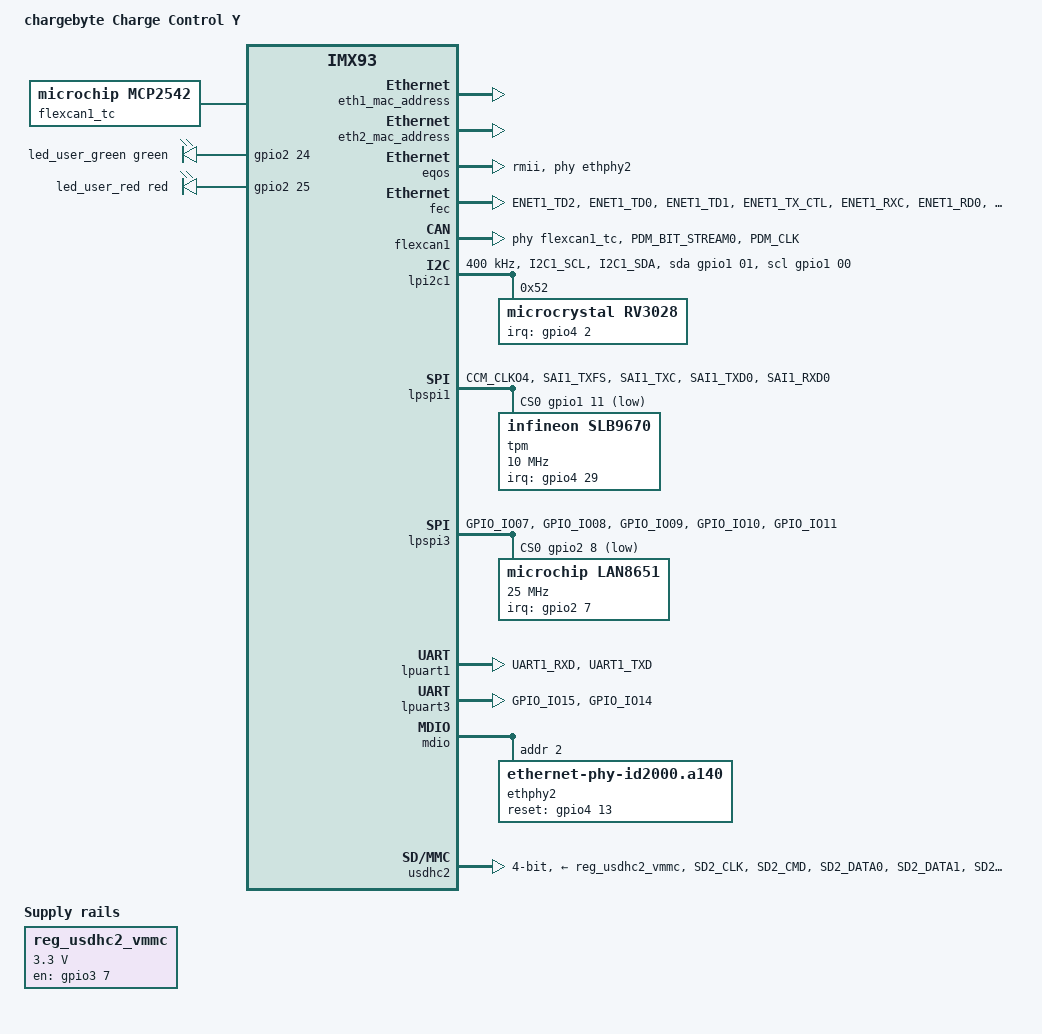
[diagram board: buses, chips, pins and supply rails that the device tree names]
// SPDX-License-Identifier: (GPL-2.0+ OR MIT)
/*
 * Copyright (C) 2025-2026 chargebyte GmbH
 */

/dts-v1/;

#include <dt-bindings/interrupt-controller/irq.h>
#include "imx93-phycore-som.dtsi"

/ {
	model = "chargebyte Charge Control Y";
	compatible = "chargebyte,imx93-charge-control-y", "phytec,imx93-phycore-som", "fsl,imx93";

	aliases {
		ethernet0 = &fec;
		ethernet1 = &lan8651;
		ethernet2 = &eqos;
		gpio0 = &gpio1;
		gpio1 = &gpio2;
		gpio2 = &gpio3;
		gpio3 = &gpio4;
		mmc0 = &usdhc1;
		mmc1 = &usdhc2;
		rtc0 = &rv3028;
		rtc1 = &bbnsm_rtc;
		serial0 = &lpuart1;
		serial1 = &lpuart2;
		serial2 = &lpuart3;
		serial3 = &lpuart4;
		serial4 = &lpuart5;
	};

	chosen {
		stdout-path = &lpuart1;
	};

	flexcan1_tc: can-phy0 {
		compatible = "microchip,mcp2542", "ti,tcan1042";
		#phy-cells = <0>;
		max-bitrate = <1000000>;
	};

	reg_usdhc2_vmmc: regulator-usdhc2 {
		compatible = "regulator-fixed";
		enable-active-high;
		gpio = <&gpio3 7 GPIO_ACTIVE_HIGH>;
		pinctrl-names = "default";
		pinctrl-0 = <&pinctrl_reg_usdhc2_vmmc>;
		regulator-min-microvolt = <3300000>;
		regulator-max-microvolt = <3300000>;
		regulator-name = "VCC_SD";
	};

	user_leds: user-leds {
		compatible = "gpio-leds";
		pinctrl-names = "default";
		pinctrl-0 = <&pinctrl_user_leds>;

		led_user_green: led-user-green {
			color = <LED_COLOR_ID_GREEN>;
			function = LED_FUNCTION_BOOT;
			gpios = <&gpio2 24 GPIO_ACTIVE_HIGH>;
			linux,default-trigger = "timer";
		};

		led_user_red: led-user-red {
			color = <LED_COLOR_ID_RED>;
			function = LED_FUNCTION_SD;
			gpios = <&gpio2 25 GPIO_ACTIVE_HIGH>;
			linux,default-trigger = "mmc1";
		};
	};
};

&eeprom0 {
	nvmem-layout {
		compatible = "fixed-layout";
		#address-cells = <1>;
		#size-cells = <1>;

		/* Wired ethernet interface */
		eth1_mac_address: base-mac-address@100 {
			compatible = "mac-base";
			reg = <0x100 0x6>;
			#nvmem-cell-cells = <1>;
		};

		/* MCS ethernet interface */
		eth2_mac_address: base-mac-address@108 {
			compatible = "mac-base";
			reg = <0x108 0x6>;
			#nvmem-cell-cells = <1>;
		};
	};
};

/* Ethernet 2 */
&eqos {
	phy-mode = "rmii";
	phy-handle = <&ethphy2>;
	assigned-clocks = <&clk IMX93_CLK_ENET_TIMER2>,
			  <&clk IMX93_CLK_ENET>;
	assigned-clock-parents = <&clk IMX93_CLK_SYS_PLL_PFD1_DIV2>,
				 <&clk IMX93_CLK_SYS_PLL_PFD1_DIV2>;
	assigned-clock-rates = <100000000>, <50000000>;

	nvmem-cells = <&eth1_mac_address 0>;
	nvmem-cell-names = "mac-address";

	status = "okay";
};

/* Ethernet 1 */
&fec {
	/* Since MDIO bus is handled by FEC, all PHY strap pins and
	 * reference clock must be initialized at the same time.
	 */
	pinctrl-0 = <&pinctrl_fec &pinctrl_eqos &pinctrl_eqos_strap>;
};

&flexcan1 {
	pinctrl-names = "default";
	pinctrl-0 = <&pinctrl_flexcan1>;
	phys = <&flexcan1_tc>;
	status = "okay";
};

&gpio1 {
	pinctrl-names = "default";
	pinctrl-0 = <&pinctrl_gpio1>, <&pinctrl_lan8651_rst>;
	gpio-line-names = "", "", "", "X_nRST_LAN", "",
			  "", "LPUART2_RX", "LPUART2_TX", "CAN1_TX", "CAN1_RX",
			  "", "SPI_TPM_nCS0", "", "", "",
			  "";
};

&gpio2 {
	gpio-line-names = "", "", "", "", "",
			  "", "", "X_LAN_nIRQ", "X_LAN_nCS", "",
			  "", "", "", "", "",
			  "", "", "", "", "",
			  "", "", "", "", "GREEN_LED",
			  "RED_LED", "", "", "", "";
};

&gpio3 {
	gpio-line-names = "SD2_nCD", "", "", "", "",
			  "", "", "SD2_nRESET", "", "",
			  "", "", "", "", "",
			  "", "", "", "", "",
			  "SOM_EMMC_nRESET", "", "", "", "",
			  "", "", "", "", "",
			  "", "";
};

&gpio4 {
	pinctrl-names = "default";
	pinctrl-0 = <&pinctrl_gpio4>;
	gpio-line-names = "", "", "X_RTC_nINT", "", "",
			  "", "", "", "", "",
			  "", "", "SAFETY_BOOTMODE_SET", "ENET1_RST", "",
			  "", "", "", "", "",
			  "", "SOM_EEPROM_WP", "", "SOM_PHY_RESET", "",
			  "", "", "PMIC_IRQ_B", "nSAFETY_RESET_INT", "SPI_TPM_nINT0";
};

&lpi2c1 {
	clock-frequency = <400000>;
	pinctrl-names = "default", "gpio";
	pinctrl-0 = <&pinctrl_lpi2c1>;
	pinctrl-1 = <&pinctrl_lpi2c1_gpio>;
	scl-gpios = <&gpio1 00 (GPIO_ACTIVE_HIGH | GPIO_OPEN_DRAIN)>;
	sda-gpios = <&gpio1 01 (GPIO_ACTIVE_HIGH | GPIO_OPEN_DRAIN)>;
	#address-cells = <1>;
	#size-cells = <0>;
	status = "okay";

	rv3028: rtc@52 {
		compatible = "microcrystal,rv3028";
		interrupts = <2 IRQ_TYPE_LEVEL_LOW>;
		interrupt-parent = <&gpio4>;
		wakeup-source;
		trickle-resistor-ohms = <3000>;
		pinctrl-names = "default";
		pinctrl-0 = <&pinctrl_rtc>;
		reg = <0x52>;
	};
};

&lpspi1 {
	pinctrl-names = "default";
	pinctrl-0 = <&pinctrl_lpspi1>;
	num-cs = <1>;
	cs-gpios = <&gpio1 11 GPIO_ACTIVE_LOW>;
	status = "okay";

	tpm@0 {
		compatible = "infineon,slb9670", "tcg,tpm_tis-spi";
		reg = <0>;
		spi-max-frequency = <10000000>;
		interrupt-parent = <&gpio4>;
		interrupts = <29 IRQ_TYPE_LEVEL_LOW>;
	};
};

/* MCS Ethernet SPI */
&lpspi3 {
	pinctrl-names = "default";
	pinctrl-0 = <&pinctrl_lpspi3>;
	num-cs = <1>;
	cs-gpios = <&gpio2 8 GPIO_ACTIVE_LOW>;
	status = "okay";

	lan8651: ethernet@0 {
		compatible = "microchip,lan8651", "microchip,lan8650";
		reg = <0>;
		interrupt-parent = <&gpio2>;
		interrupts = <7 IRQ_TYPE_LEVEL_LOW>;
		spi-max-frequency = <25000000>;

		nvmem-cells = <&eth2_mac_address 0>;
		nvmem-cell-names = "mac-address";

		/*
		 * Since GPIO reset management for the LAN8651 has not yet been
		 * implemented, X_nRST_LAN should be retained as a GPIO in
		 * userspace for the rare case that a reset via SPI does not work.
		 */
	};
};

&lpuart1 {
	pinctrl-names = "default";
	pinctrl-0 = <&pinctrl_uart1>;
	status = "okay";
};

&lpuart3 {
	pinctrl-names = "default";
	pinctrl-0 = <&pinctrl_uart3>;
	status = "okay";
};

/* Ethernet 2 PHY */
&mdio {
	ethphy2: ethernet-phy@2 {
		reg = <2>;
		compatible = "ethernet-phy-id2000.a140";
		clocks = <&clk IMX93_CLK_ENET_REF_PHY>;
		reset-gpios = <&gpio4 13 GPIO_ACTIVE_HIGH>;
		reset-assert-us = <30>;
		reset-deassert-us = <50000>;
	};
};

/* Heartbeat LED of phyCore is not populated */
&som_leds {
	status = "disabled";
};

/* SD */
&usdhc2 {
	pinctrl-names = "default", "state_100mhz", "state_200mhz";
	pinctrl-0 = <&pinctrl_usdhc2_default>, <&pinctrl_usdhc2_cd>;
	pinctrl-1 = <&pinctrl_usdhc2_100mhz>, <&pinctrl_usdhc2_cd>;
	pinctrl-2 = <&pinctrl_usdhc2_200mhz>, <&pinctrl_usdhc2_cd>;
	cd-gpios = <&gpio3 00 GPIO_ACTIVE_LOW>;
	vmmc-supply = <&reg_usdhc2_vmmc>;
	bus-width = <4>;
	disable-wp;
	no-sdio;
	no-mmc;
	status = "okay";
};

&iomuxc {
	pinctrl_eqos: eqosgrp {
		fsl,pins = <
			MX93_PAD_ENET1_TD2__CCM_ENET_QOS_CLOCK_GENERATE_REF_CLK		0x4000057e
			MX93_PAD_ENET1_TD0__ENET_QOS_RGMII_TD0				0x50e
			MX93_PAD_ENET1_TD1__ENET_QOS_RGMII_TD1				0x50e
			MX93_PAD_ENET1_TX_CTL__ENET_QOS_RGMII_TX_CTL			0x50e
		>;
	};

	pinctrl_eqos_strap: eqosstrapgrp {
		fsl,pins = <
			MX93_PAD_ENET1_RXC__ENET_QOS_RX_ER		0x17e
			MX93_PAD_ENET1_RD0__ENET_QOS_RGMII_RD0		0x17e
			MX93_PAD_ENET1_RD1__ENET_QOS_RGMII_RD1		0x17e
			MX93_PAD_ENET1_RX_CTL__ENET_QOS_RGMII_RX_CTL	0x17e
		>;
	};

	pinctrl_flexcan1: flexcan1grp {
		fsl,pins = <
			MX93_PAD_PDM_BIT_STREAM0__CAN1_RX	0x139e
			MX93_PAD_PDM_CLK__CAN1_TX		0x1382
		>;
	};

	pinctrl_gpio1: gpio1grp {
		fsl,pins = <
			MX93_PAD_PDM_BIT_STREAM1__GPIO1_IO10	0x382
		>;
	};

	pinctrl_gpio4: gpio4grp {
		fsl,pins = <
			MX93_PAD_ENET1_TXC__GPIO4_IO07		0x382
			MX93_PAD_ENET1_RD2__GPIO4_IO12		0x39e
			MX93_PAD_CCM_CLKO3__GPIO4_IO28		0x39e
			MX93_PAD_ENET1_RD3__GPIO4_IO13		0x31e
		>;
	};

	/* X_nRST_LAN is wired to a pull resistor, so it's not floating */
	pinctrl_lan8651_rst: lan8651rstgrp {
		fsl,pins = <
			MX93_PAD_I2C2_SDA__GPIO1_IO03		0x31e
		>;
	};

	pinctrl_lpi2c1: lpi2c1grp {
		fsl,pins = <
			MX93_PAD_I2C1_SCL__LPI2C1_SCL		0x40000b86
			MX93_PAD_I2C1_SDA__LPI2C1_SDA		0x40000b86
		>;
	};

	pinctrl_lpi2c1_gpio: lpi2c1gpiogrp {
		fsl,pins = <
			MX93_PAD_I2C1_SCL__GPIO1_IO00		0x40000b9e
			MX93_PAD_I2C1_SDA__GPIO1_IO01		0x40000b9e
		>;
	};

	pinctrl_lpspi1: lpspi1grp {
		fsl,pins = <
			MX93_PAD_CCM_CLKO4__GPIO4_IO29		0x186
			MX93_PAD_SAI1_TXFS__GPIO1_IO11		0x186
			MX93_PAD_SAI1_TXC__LPSPI1_SIN		0x186
			MX93_PAD_SAI1_TXD0__LPSPI1_SCK		0x186
			MX93_PAD_SAI1_RXD0__LPSPI1_SOUT		0x186
		>;
	};

	/* PinCtrl MCS LAN SPI */
	pinctrl_lpspi3: lpspi3grp {
		fsl,pins = <
			MX93_PAD_GPIO_IO07__GPIO2_IO07		0x186
			MX93_PAD_GPIO_IO08__GPIO2_IO08		0x186
			MX93_PAD_GPIO_IO09__LPSPI3_SIN		0x186
			MX93_PAD_GPIO_IO10__LPSPI3_SOUT		0x186
			MX93_PAD_GPIO_IO11__LPSPI3_SCK		0x186
		>;
	};

	pinctrl_rtc: rtcgrp {
		fsl,pins = <
			MX93_PAD_ENET1_TD3__GPIO4_IO02		0x31e
		>;
	};

	pinctrl_uart1: uart1grp {
		fsl,pins = <
			MX93_PAD_UART1_RXD__LPUART1_RX		0x31e
			MX93_PAD_UART1_TXD__LPUART1_TX		0x30e
		>;
	};

	pinctrl_uart3: uart3grp {
		fsl,pins = <
			MX93_PAD_GPIO_IO15__LPUART3_RX		0x31e
			MX93_PAD_GPIO_IO14__LPUART3_TX		0x30e
		>;
	};

	pinctrl_reg_usdhc2_vmmc: regusdhc2vmmcgrp {
		fsl,pins = <
			MX93_PAD_SD2_RESET_B__GPIO3_IO07	0x31e
		>;
	};

	pinctrl_usdhc2_cd: usdhc2cdgrp {
		fsl,pins = <
			MX93_PAD_SD2_CD_B__GPIO3_IO00		0x31e
		>;
	};

	/* need to config the SION for data and cmd pad, refer to ERR052021 */
	pinctrl_usdhc2_default: usdhc2grp {
		fsl,pins = <
			MX93_PAD_SD2_CLK__USDHC2_CLK		0x119e
			MX93_PAD_SD2_CMD__USDHC2_CMD		0x4000139e
			MX93_PAD_SD2_DATA0__USDHC2_DATA0	0x4000138e
			MX93_PAD_SD2_DATA1__USDHC2_DATA1	0x4000138e
			MX93_PAD_SD2_DATA2__USDHC2_DATA2	0x4000138e
			MX93_PAD_SD2_DATA3__USDHC2_DATA3	0x4000139e
			MX93_PAD_SD2_VSELECT__USDHC2_VSELECT	0x51e
		>;
	};

	/* need to config the SION for data and cmd pad, refer to ERR052021 */
	pinctrl_usdhc2_100mhz: usdhc2-100mhzgrp {
		fsl,pins = <
			MX93_PAD_SD2_CLK__USDHC2_CLK		0x119e
			MX93_PAD_SD2_CMD__USDHC2_CMD		0x4000139e
			MX93_PAD_SD2_DATA0__USDHC2_DATA0	0x4000138e
			MX93_PAD_SD2_DATA1__USDHC2_DATA1	0x4000138e
			MX93_PAD_SD2_DATA2__USDHC2_DATA2	0x4000139e
			MX93_PAD_SD2_DATA3__USDHC2_DATA3	0x4000139e
			MX93_PAD_SD2_VSELECT__USDHC2_VSELECT	0x51e
		>;
	};

	/* need to config the SION for data and cmd pad, refer to ERR052021 */
	pinctrl_usdhc2_200mhz: usdhc2-200mhzgrp {
		fsl,pins = <
			MX93_PAD_SD2_CLK__USDHC2_CLK		0x118e
			MX93_PAD_SD2_CMD__USDHC2_CMD		0x4000139e
			MX93_PAD_SD2_DATA0__USDHC2_DATA0	0x4000139e
			MX93_PAD_SD2_DATA1__USDHC2_DATA1	0x4000139e
			MX93_PAD_SD2_DATA2__USDHC2_DATA2	0x4000139e
			MX93_PAD_SD2_DATA3__USDHC2_DATA3	0x4000139e
			MX93_PAD_SD2_VSELECT__USDHC2_VSELECT	0x51e
		>;
	};

	pinctrl_user_leds: userledgrp {
		fsl,pins = <
			MX93_PAD_GPIO_IO24__GPIO2_IO24		0x31e
			MX93_PAD_GPIO_IO25__GPIO2_IO25		0x31e
		>;
	};
};
